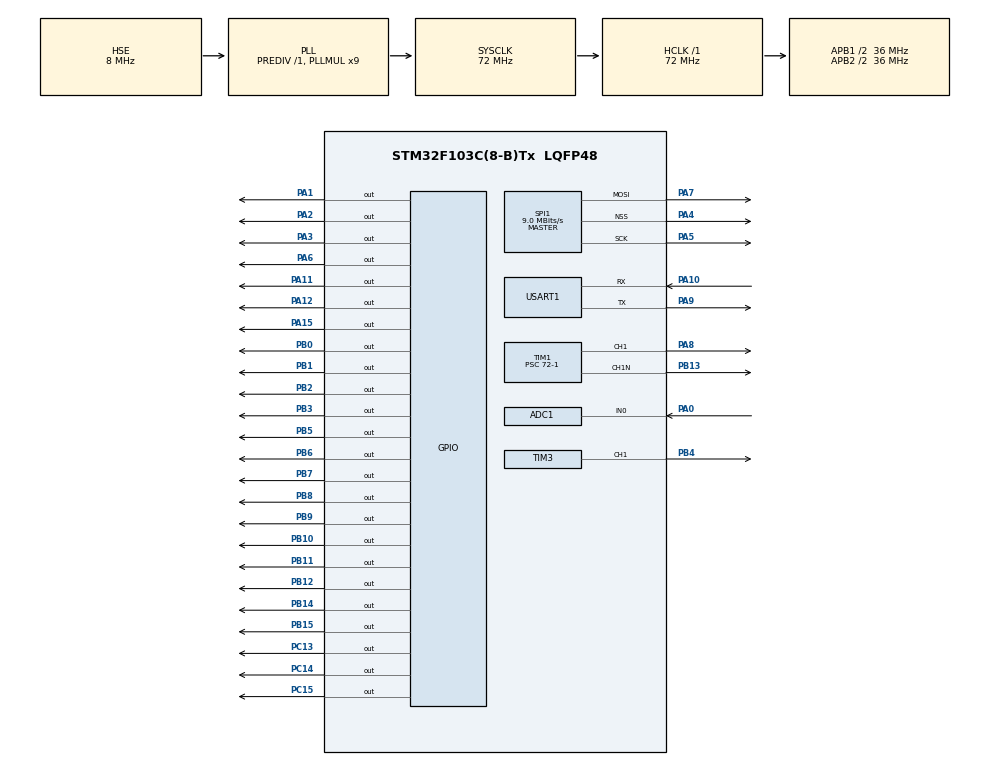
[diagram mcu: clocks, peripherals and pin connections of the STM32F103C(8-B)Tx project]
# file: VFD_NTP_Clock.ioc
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ADC1.Channel-1\#ChannelRegularConversion=ADC_CHANNEL_0
ADC1.ContinuousConvMode=DISABLE
ADC1.ExternalTrigConv=ADC_EXTERNALTRIGCONV_T2_CC2
ADC1.NbrOfConversionFlag=1
ADC1.Rank-1\#ChannelRegularConversion=1
ADC1.SamplingTime-1\#ChannelRegularConversion=ADC_SAMPLETIME_55CYCLES_5
ADC1.master=1
Dma.Request0=USART1_RX
Dma.USART1_RX.0.Direction=DMA_PERIPH_TO_MEMORY
Dma.USART1_RX.0.Instance=DMA1_Channel5
Dma.USART1_RX.0.MemDataAlignment=DMA_MDATAALIGN_BYTE
Dma.USART1_RX.0.MemInc=DMA_MINC_ENABLE
Dma.USART1_RX.0.Mode=DMA_NORMAL
Dma.USART1_RX.0.PeriphDataAlignment=DMA_PDATAALIGN_BYTE
Dma.USART1_RX.0.PeriphInc=DMA_PINC_DISABLE
Dma.USART1_RX.0.Priority=DMA_PRIORITY_LOW
Mcu.Family=STM32F1
Mcu.Name=STM32F103C(8-B)Tx
Mcu.Package=LQFP48
NVIC.ADC1_2_IRQn=true\:0\:0\:false\:false\:true\:true\:true\:true
NVIC.DMA1_Channel5_IRQn=true\:0\:0\:false\:false\:true\:false\:true\:true
NVIC.PriorityGroup=NVIC_PRIORITYGROUP_4
NVIC.TIM2_IRQn=true\:0\:0\:false\:false\:true\:true\:true\:true
NVIC.TIM3_IRQn=true\:0\:0\:false\:false\:true\:true\:true\:true
NVIC.USART1_IRQn=true\:0\:0\:false\:false\:true\:true\:true\:true
PA0-WKUP.Signal=ADCx_IN0
PA1.Signal=GPIO_Output
PA10.GPIO_PuPd=GPIO_PULLUP
PA10.Mode=Asynchronous
PA10.Signal=USART1_RX
PA11.Signal=GPIO_Output
PA12.Signal=GPIO_Output
PA13.Mode=Serial_Wire
PA13.Signal=SYS_JTMS-SWDIO
PA14.Mode=Serial_Wire
PA14.Signal=SYS_JTCK-SWCLK
PA15.Signal=GPIO_Output
PA2.Signal=GPIO_Output
PA3.GPIO_Speed=GPIO_SPEED_FREQ_HIGH
PA3.Signal=GPIO_Output
PA4.Mode=NSS_Signal_Hard_Output
PA4.Signal=SPI1_NSS
PA5.Mode=TX_Only_Simplex_Unidirect_Master
PA5.Signal=SPI1_SCK
PA6.Signal=GPIO_Output
PA7.Mode=TX_Only_Simplex_Unidirect_Master
PA7.Signal=SPI1_MOSI
PA8.GPIO_Speed=GPIO_SPEED_FREQ_HIGH
PA8.Signal=S_TIM1_CH1
PA9.Mode=Asynchronous
PA9.Signal=USART1_TX
PB0.Signal=GPIO_Output
PB1.Signal=GPIO_Output
PB10.Signal=GPIO_Output
PB11.Signal=GPIO_Output
PB12.Signal=GPIO_Output
PB13.GPIO_Speed=GPIO_SPEED_FREQ_HIGH
PB13.Mode=PWM Generation1 CH1 CH1N
PB13.Signal=TIM1_CH1N
PB14.Signal=GPIO_Output
PB15.Signal=GPIO_Output
PB2.Signal=GPIO_Output
PB3.Signal=GPIO_Output
PB4.Signal=S_TIM3_CH1
PB5.Signal=GPIO_Output
PB6.Signal=GPIO_Output
PB7.Signal=GPIO_Output
PB8.Signal=GPIO_Output
PB9.Signal=GPIO_Output
PC13-TAMPER-RTC.Signal=GPIO_Output
PC14-OSC32_IN.Signal=GPIO_Output
PC15-OSC32_OUT.Signal=GPIO_Output
PD0-OSC_IN.Mode=HSE-External-Oscillator
PD0-OSC_IN.Signal=RCC_OSC_IN
PD1-OSC_OUT.Mode=HSE-External-Oscillator
PD1-OSC_OUT.Signal=RCC_OSC_OUT
ProjectManager.HeapSize=0x200
ProjectManager.StackSize=0x400
ProjectManager.TargetToolchain=CMake
RCC.ADCPresc=RCC_ADCPCLK2_DIV4
RCC.AHBFreq_Value=72000000
RCC.APB1CLKDivider=RCC_HCLK_DIV2
RCC.APB1Freq_Value=36000000
RCC.APB1TimFreq_Value=72000000
RCC.APB2CLKDivider=RCC_HCLK_DIV2
RCC.APB2Freq_Value=36000000
RCC.APB2TimFreq_Value=72000000
RCC.HCLKFreq_Value=72000000
RCC.PLLMUL=RCC_PLL_MUL9
RCC.PLLSourceVirtual=RCC_PLLSOURCE_HSE
RCC.SYSCLKFreq_VALUE=72000000
RCC.SYSCLKSource=RCC_SYSCLKSOURCE_PLLCLK
RCC.USBFreq_Value=72000000
SH.ADCx_IN0.0=ADC1_IN0,IN0
SH.ADCx_IN0.1=ADC2_IN0
SH.S_TIM1_CH1.0=TIM1_CH1,PWM Generation1 CH1 CH1N
SH.S_TIM3_CH1.0=TIM3_CH1,PWM Generation1 CH1
SPI1.BaudRatePrescaler=SPI_BAUDRATEPRESCALER_4
SPI1.CLKPhase=SPI_PHASE_1EDGE
SPI1.CLKPolarity=SPI_POLARITY_LOW
SPI1.CRCCalculation=SPI_CRCCALCULATION_DISABLE
SPI1.CalculateBaudRate=9.0 MBits/s
SPI1.DataSize=SPI_DATASIZE_8BIT
SPI1.Direction=SPI_DIRECTION_2LINES
SPI1.FirstBit=SPI_FIRSTBIT_MSB
SPI1.Mode=SPI_MODE_MASTER
SPI1.VirtualNSS=VM_NSSHARD
SPI1.VirtualType=VM_MASTER
TIM1.AutoReloadPreload=TIM_AUTORELOAD_PRELOAD_ENABLE
TIM1.AutomaticOutput=TIM_AUTOMATICOUTPUT_DISABLE
TIM1.BreakState=TIM_BREAK_DISABLE
TIM1.Channel-PWM\ Generation1\ CH1\ CH1N=TIM_CHANNEL_1
TIM1.DeadTime=36
TIM1.OC1Preload_PWM=DISABLE
TIM1.OCFastMode_PWM-PWM\ Generation1\ CH1\ CH1N=TIM_OCFAST_DISABLE
TIM1.OCNPolarity_1=TIM_OCNPOLARITY_HIGH
TIM1.OffStateIDLEMode=TIM_OSSI_DISABLE
TIM1.OffStateRunMode=TIM_OSSR_DISABLE
TIM1.Period=50-1
TIM1.Prescaler=72-1
TIM1.Pulse-PWM\ Generation1\ CH1\ CH1N=25
TIM2.AutoReloadPreload=TIM_AUTORELOAD_PRELOAD_ENABLE
TIM2.Channel-Output\ Compare2\ No\ Output=TIM_CHANNEL_2
TIM2.OC2Preload=DISABLE
TIM2.OCMode_2=TIM_OCMODE_TOGGLE
TIM2.Period=1000-1
TIM2.Prescaler=72-1
TIM2.Pulse-Output\ Compare2\ No\ Output=500
TIM2.TIM_MasterOutputTrigger=TIM_TRGO_RESET
TIM3.AutoReloadPreload=TIM_AUTORELOAD_PRELOAD_ENABLE
TIM3.Channel-Output\ Compare2\ No\ Output=TIM_CHANNEL_2
TIM3.Channel-PWM\ Generation1\ CH1=TIM_CHANNEL_1
TIM3.OC2Preload=ENABLE
TIM3.OCPolarity_1=TIM_OCPOLARITY_LOW
TIM3.Period=400-1
TIM3.Prescaler=72-1
TIM3.TIM_MasterOutputTrigger=TIM_TRGO_UPDATE
USART1.VirtualMode=VM_ASYNC
VP_TIM2_VS_ClockSourceINT.Mode=Internal
VP_TIM2_VS_no_output2.Mode=Output Compare2 No Output
VP_TIM3_VS_ClockSourceINT.Mode=Internal
VP_TIM3_VS_no_output2.Mode=Output Compare2 No Output
board=custom

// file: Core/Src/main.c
/* USER CODE BEGIN Header */
/**
 ******************************************************************************
 * @file           : main.c
 * @brief          : Main program body
 ******************************************************************************
 * @attention
 *
 * Copyright (c) 2025 STMicroelectronics.
 * All rights reserved.
 *
 * This software is licensed under terms that can be found in the LICENSE file
 * in the root directory of this software component.
 * If no LICENSE file comes with this software, it is provided AS-IS.
 *
 ******************************************************************************
 */
/* USER CODE END Header */
#include "main.h"
#include "adc.h"
#include "dma.h"
#include "spi.h"
#include "tim.h"
#include "usart.h"
#include "gpio.h"

/* USER CODE BEGIN Includes */
#include "../../User/vfd_driver.hpp"
#include "../../User/mainproc.hpp"
// #include <sys/time.h>
#include "../../User/usr_time.hpp"
/* USER CODE END Includes */

/* USER CODE BEGIN PV */
static uint8_t RcvUART_Data[36] = {'\0'};
static uint32_t rcvSpanCnt1ms = 0;

/* USER CODE END PV */

void SystemClock_Config(void);
/* USER CODE BEGIN PFP */
void HAL_TIM_PeriodElapsedCallback(TIM_HandleTypeDef *htim);
/* USER CODE END PFP */

int main(void)
{

  /* MCU Configuration--------------------------------------------------------*/

  /* Reset of all peripherals, Initializes the Flash interface and the Systick. */
  HAL_Init();

  /* Configure the system clock */
  SystemClock_Config();

  /* Initialize all configured peripherals */
  MX_GPIO_Init();
  MX_DMA_Init();
  MX_SPI1_Init();
  MX_TIM3_Init();
  MX_USART1_UART_Init();
  MX_TIM2_Init();
  MX_ADC1_Init();
  MX_TIM1_Init();
  /* USER CODE BEGIN 2 */
  HAL_TIM_OC_Start(&htim2, TIM_CHANNEL_2);
  HAL_TIM_OC_Start_IT(&htim3, TIM_CHANNEL_2);
  HAL_TIM_PWM_Start(&htim1, TIM_CHANNEL_1);
  HAL_TIMEx_PWMN_Start(&htim1, TIM_CHANNEL_1);
  HAL_TIM_PWM_Start(&htim3, TIM_CHANNEL_1);
  HAL_ADCEx_Calibration_Start(&hadc1);
  procInit();
  HAL_ADC_Start_IT(&hadc1);
  HAL_TIM_Base_Start(&htim1);
  HAL_TIM_Base_Start_IT(&htim2);
  HAL_TIM_Base_Start(&htim3);
  HAL_UART_Receive_DMA(&huart1, RcvUART_Data, sizeof(RcvUART_Data));

  /* USER CODE END 2 */

  /* Infinite loop */
  while (1)
  {

    /* USER CODE BEGIN 3 */

    procMain();
  }
  procEnd();
  /* USER CODE END 3 */
}

void SystemClock_Config(void)
{
  RCC_OscInitTypeDef RCC_OscInitStruct = {0};
  RCC_ClkInitTypeDef RCC_ClkInitStruct = {0};
  RCC_PeriphCLKInitTypeDef PeriphClkInit = {0};

  /** Initializes the RCC Oscillators according to the specified parameters
  * in the RCC_OscInitTypeDef structure.
  */
  RCC_OscInitStruct.OscillatorType = RCC_OSCILLATORTYPE_HSE;
  RCC_OscInitStruct.HSEState = RCC_HSE_ON;
  RCC_OscInitStruct.HSEPredivValue = RCC_HSE_PREDIV_DIV1;
  RCC_OscInitStruct.HSIState = RCC_HSI_ON;
  RCC_OscInitStruct.PLL.PLLState = RCC_PLL_ON;
  RCC_OscInitStruct.PLL.PLLSource = RCC_PLLSOURCE_HSE;
  RCC_OscInitStruct.PLL.PLLMUL = RCC_PLL_MUL9;
  if (HAL_RCC_OscConfig(&RCC_OscInitStruct) != HAL_OK)
  {
    Error_Handler();
  }

  /** Initializes the CPU, AHB and APB buses clocks
  */
  RCC_ClkInitStruct.ClockType = RCC_CLOCKTYPE_HCLK|RCC_CLOCKTYPE_SYSCLK
                              |RCC_CLOCKTYPE_PCLK1|RCC_CLOCKTYPE_PCLK2;
  RCC_ClkInitStruct.SYSCLKSource = RCC_SYSCLKSOURCE_PLLCLK;
  RCC_ClkInitStruct.AHBCLKDivider = RCC_SYSCLK_DIV1;
  RCC_ClkInitStruct.APB1CLKDivider = RCC_HCLK_DIV2;
  RCC_ClkInitStruct.APB2CLKDivider = RCC_HCLK_DIV2;

  if (HAL_RCC_ClockConfig(&RCC_ClkInitStruct, FLASH_LATENCY_2) != HAL_OK)
  {
    Error_Handler();
  }
  PeriphClkInit.PeriphClockSelection = RCC_PERIPHCLK_ADC;
  PeriphClkInit.AdcClockSelection = RCC_ADCPCLK2_DIV4;
  if (HAL_RCCEx_PeriphCLKConfig(&PeriphClkInit) != HAL_OK)
  {
    Error_Handler();
  }
}

/* USER CODE BEGIN 4 */
/**
 * タイマー更新イベント発生時の処理
 */
void HAL_TIM_PeriodElapsedCallback(TIM_HandleTypeDef *htim)
{
  if (htim->Instance == TIM2)
  {
    // 1msec周期割り込み
    procEvent1msec();

    rcvSpanCnt1ms++;
    if (rcvSpanCnt1ms > 1000 * 10)
    {
      rcvSpanCnt1ms = 0;
      // 10秒以上受信がない場合、DMA開始する
      HAL_UART_Receive_DMA(&huart1, RcvUART_Data, sizeof(RcvUART_Data));
    }
  }
}

/**
 * Capture Compare割り込み
 */
void HAL_TIM_OC_DelayElapsedCallback(TIM_HandleTypeDef *htim)
{
  if (htim->Instance == TIM3)
  {
    // VFD消灯時割り込み
    // PWMのVFD消灯時と同期している
    // 消灯時にVFD表示を次のものに更新し、桁間の残像を低減する
    procEventCompare();
  }
}

/**
 * AD変換完了イベント発生時の処理
 */
void HAL_ADC_ConvCpltCallback(ADC_HandleTypeDef *hadc)
{
  // ADC変換完了割り込み
  if (hadc->Instance == ADC1)
  {
    // ADC1変換完了
    procEventADC();
  }
  if (hadc->Instance == ADC2)
  {
    // ADC2変換完了
    // procADC2ConvCplt();
  }
}

/**
 * UART受信完了割り込み
 */
void HAL_UART_RxCpltCallback(UART_HandleTypeDef *huart)
{
  if (huart->Instance == USART1)
  {
    procEventRcvUart(RcvUART_Data);
    HAL_UART_Receive_DMA(&huart1, RcvUART_Data, sizeof(RcvUART_Data));

    // UART受信が何らか有効になっていないことを検出するカウンター
    //受信できたのでリセットする
    rcvSpanCnt1ms = 0;

    //受信ステータス
    HAL_GPIO_TogglePin(GPIOC, GPIO_PIN_13);
  }
}

/* USER CODE END 4 */

void Error_Handler(void)
{
  __disable_irq();
  while (1)
  {
  }
}
